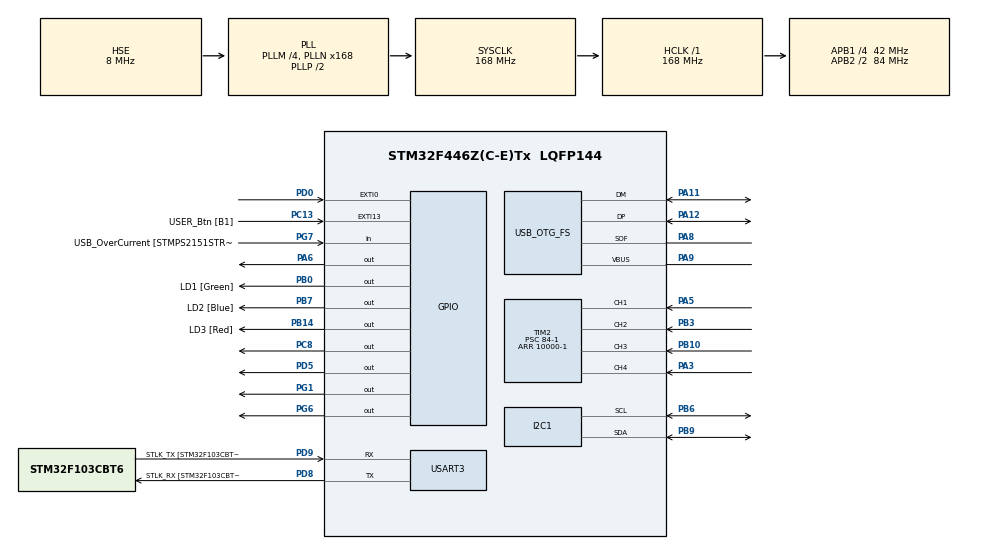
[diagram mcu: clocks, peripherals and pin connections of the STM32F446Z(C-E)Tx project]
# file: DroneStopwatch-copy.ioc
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Mcu.Family=STM32F4
Mcu.Name=STM32F446Z(C-E)Tx
Mcu.Package=LQFP144
NVIC.EXTI0_IRQn=true\:0\:0\:false\:false\:true\:true\:true\:true
NVIC.PriorityGroup=NVIC_PRIORITYGROUP_4
NVIC.TIM2_IRQn=true\:0\:0\:false\:false\:true\:true\:true\:true
NVIC.TIM3_IRQn=true\:0\:0\:false\:false\:true\:true\:true\:true
PA10.GPIO_Label=USB_ID
PA10.Signal=USB_OTG_FS_ID
PA11.GPIO_Mode=GPIO_MODE_AF_PP
PA11.GPIO_PuPd=GPIO_NOPULL
PA11.GPIO_Speed=GPIO_SPEED_FREQ_VERY_HIGH
PA11.Mode=Device_Only
PA11.Signal=USB_OTG_FS_DM
PA12.GPIO_Mode=GPIO_MODE_AF_PP
PA12.GPIO_PuPd=GPIO_NOPULL
PA12.GPIO_Speed=GPIO_SPEED_FREQ_VERY_HIGH
PA12.Mode=Device_Only
PA12.Signal=USB_OTG_FS_DP
PA13.GPIO_Label=TMS
PA13.Mode=Serial_Wire
PA13.Signal=SYS_JTMS-SWDIO
PA14.GPIO_Label=TCK
PA14.Mode=Serial_Wire
PA14.Signal=SYS_JTCK-SWCLK
PA3.Signal=S_TIM2_CH4
PA5.Signal=S_TIM2_CH1_ETR
PA6.Signal=GPIO_Output
PA8.GPIO_Mode=GPIO_MODE_AF_PP
PA8.GPIO_PuPd=GPIO_NOPULL
PA8.GPIO_Speed=GPIO_SPEED_FREQ_VERY_HIGH
PA8.Mode=Activate_SOF_FS
PA8.Signal=USB_OTG_FS_SOF
PA9.GPIO_Mode=GPIO_MODE_INPUT
PA9.GPIO_PuPd=GPIO_NOPULL
PA9.Mode=Activate_VBUS
PA9.Signal=USB_OTG_FS_VBUS
PB0.GPIO_Label=LD1 [Green]
PB0.Signal=GPIO_Output
PB10.Signal=S_TIM2_CH3
PB14.GPIO_Label=LD3 [Red]
PB14.Signal=GPIO_Output
PB3.Signal=S_TIM2_CH2
PB6.Mode=I2C
PB6.Signal=I2C1_SCL
PB7.GPIO_Label=LD2 [Blue]
PB7.Signal=GPIO_Output
PB9.Mode=I2C
PB9.Signal=I2C1_SDA
PC13.GPIO_Label=USER_Btn [B1]
PC13.Signal=GPXTI13
PC14-OSC32_IN.Mode=LSE-External-Oscillator
PC14-OSC32_IN.Signal=RCC_OSC32_IN
PC15-OSC32_OUT.Mode=LSE-External-Oscillator
PC15-OSC32_OUT.Signal=RCC_OSC32_OUT
PC8.Signal=GPIO_Output
PD0.GPIO_ModeDefaultEXTI=GPIO_MODE_IT_FALLING
PD0.GPIO_PuPd=GPIO_PULLUP
PD0.Signal=GPXTI0
PD5.Signal=GPIO_Output
PD8.GPIO_Label=STLK_RX [STM32F103CBT6_PA3]
PD8.Mode=Asynchronous
PD8.Signal=USART3_TX
PD9.GPIO_Label=STLK_TX [STM32F103CBT6_PA2]
PD9.Mode=Asynchronous
PD9.Signal=USART3_RX
PG1.Signal=GPIO_Output
PG6.Signal=GPIO_Output
PG7.GPIO_Label=USB_OverCurrent [STMPS2151STR_FAULT]
PG7.Signal=GPIO_Input
PH0-OSC_IN.GPIO_Label=MCO [STM32F103CBT6_PA8]
PH0-OSC_IN.Mode=HSE-External-Oscillator
PH0-OSC_IN.Signal=RCC_OSC_IN
PH1-OSC_OUT.Mode=HSE-External-Oscillator
PH1-OSC_OUT.Signal=RCC_OSC_OUT
ProjectManager.HeapSize=0x200
ProjectManager.StackSize=0x400
ProjectManager.TargetToolchain=STM32CubeIDE
RCC.48MHZClocksFreq_Value=24000000
RCC.AHBFreq_Value=168000000
RCC.APB1CLKDivider=RCC_HCLK_DIV4
RCC.APB1Freq_Value=42000000
RCC.APB1TimFreq_Value=84000000
RCC.APB2CLKDivider=RCC_HCLK_DIV2
RCC.APB2Freq_Value=84000000
RCC.APB2TimFreq_Value=168000000
RCC.CortexFreq_Value=168000000
RCC.HCLKFreq_Value=168000000
RCC.HSE_VALUE=8000000
RCC.HSI_VALUE=16000000
RCC.PLLM=4
RCC.PLLMUL=RCC_PLL_MUL9
RCC.PLLN=168
RCC.PLLQ=7
RCC.PRESCALERUSB=RCC_USBCLKSOURCE_PLL_DIV1_5
RCC.SYSCLKFreq_VALUE=168000000
RCC.SYSCLKSource=RCC_SYSCLKSOURCE_PLLCLK
RCC.SYSCLKSourceVirtual=RCC_SYSCLKSOURCE_PLLCLK
RCC.USBFreq_Value=48000000
RCC.VCOOutputFreq_Value=336000000
SH.S_TIM2_CH1_ETR.0=TIM2_CH1,Input_Capture1_from_TI1
SH.S_TIM2_CH2.0=TIM2_CH2,Input_Capture2_from_TI2
SH.S_TIM2_CH3.0=TIM2_CH3,Input_Capture3_from_TI3
SH.S_TIM2_CH4.0=TIM2_CH4,Input_Capture4_from_TI4
TIM2.Channel-Input_Capture1_from_TI1=TIM_CHANNEL_1
TIM2.Channel-Input_Capture2_from_TI2=TIM_CHANNEL_2
TIM2.Channel-Input_Capture3_from_TI3=TIM_CHANNEL_3
TIM2.Channel-Input_Capture4_from_TI4=TIM_CHANNEL_4
TIM2.ICPolarity_CH1=TIM_INPUTCHANNELPOLARITY_BOTHEDGE
TIM2.ICPolarity_CH2=TIM_INPUTCHANNELPOLARITY_BOTHEDGE
TIM2.ICPolarity_CH3=TIM_INPUTCHANNELPOLARITY_BOTHEDGE
TIM2.ICPolarity_CH4=TIM_INPUTCHANNELPOLARITY_BOTHEDGE
TIM2.Period=10000-1
TIM2.Prescaler=84-1
TIM3.Period=9999
TIM3.Prescaler=83
USART3.VirtualMode=VM_ASYNC
USB_OTG_FS.VirtualMode=Device_Only
VP_TIM3_VS_ClockSourceINT.Mode=Internal
board=NUCLEO-F446ZE

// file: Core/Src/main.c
/* USER CODE BEGIN Header */
/**
  ******************************************************************************
  * @file           : main.c
  * @brief          : Main program body
  ******************************************************************************
  * @attention
  *
  * Copyright (c) 2025 STMicroelectronics.
  * All rights reserved.
  *
  * This software is licensed under terms that can be found in the LICENSE file
  * in the root directory of this software component.
  * If no LICENSE file comes with this software, it is provided AS-IS.
  *
  ******************************************************************************
  */
/* USER CODE END Header */
#include "main.h"

/* USER CODE BEGIN Includes */
#include <stdio.h>
#include <string.h>
#include "i2c_lcd.h"
#include "stm32f4xx_hal.h"
/* USER CODE END Includes */

/* USER CODE BEGIN PTD */
#define NUM_SENSORS 4
/* USER CODE END PTD */

I2C_HandleTypeDef hi2c1;

TIM_HandleTypeDef htim2;
TIM_HandleTypeDef htim3;

UART_HandleTypeDef huart3;

PCD_HandleTypeDef hpcd_USB_OTG_FS;

/* USER CODE BEGIN PV */
I2C_LCD_HandleTypeDef lcd1;
/* USER CODE END PV */

void SystemClock_Config(void);
static void MX_GPIO_Init(void);
static void MX_USART3_UART_Init(void);
static void MX_USB_OTG_FS_PCD_Init(void);
static void MX_TIM2_Init(void);
static void MX_I2C1_Init(void);
static void MX_TIM3_Init(void);

/* USER CODE BEGIN 0 */

volatile uint32_t stopwatch_count = 0;  // Stopwatch counter (1 count = 10ms)
volatile uint8_t isRunning = 0;
uint32_t stopwatchMillis = 0;

/*		MULTI CHANNEL ECHO SETUP		*/
volatile uint32_t echo_start[NUM_SENSORS] = {0};
volatile uint32_t echo_end[NUM_SENSORS] = {0};
volatile uint8_t  echo_captured[NUM_SENSORS] = {0};

volatile uint8_t previousState = 0;
volatile uint8_t start_stop_stay = 0;
uint32_t ignoreStateUntil = 0;
uint8_t ledId = 0;

uint32_t distances[NUM_SENSORS] = {0};

volatile uint32_t previousMillis = 0;  // Track debounce time and check delay
volatile uint32_t currentMillis  = 0;

void start_stopwatch();
void stop_stopwatch();
void send_time_to_outputs();

void delay_ms(uint32_t delayMs) {
    uint32_t start = HAL_GetTick();
    while (HAL_GetTick() - start < delayMs) {

    }
}

void delay_us(uint32_t delay) {
    // Calculate the number of cycles per microsecond
    uint32_t cycles_per_us = 168; // 168 MHz -> 1 cycle = 1/168,000,000 s, so 168 cycles per microsecond
    uint32_t total_cycles = delay * cycles_per_us;
    while (total_cycles--) {

        __NOP();
    }
}

void HAL_GPIO_EXTI_Callback(uint16_t GPIO_Pin) {

	currentMillis = HAL_GetTick();
    if (GPIO_Pin == GPIO_PIN_0 && (currentMillis - previousMillis > 200)) {

        if(isRunning){	stop_stopwatch();  start_stop_stay = 2; send_time_to_outputs(); }
        else		 {	start_stopwatch(); start_stop_stay = 1; send_time_to_outputs();}

        previousMillis = currentMillis;
    }
}

void HAL_TIM_PeriodElapsedCallback(TIM_HandleTypeDef *htim) {
    if (htim->Instance == TIM3 && isRunning) {
            stopwatch_count++;

        }
}

void HAL_TIM_IC_CaptureCallback(TIM_HandleTypeDef *htim) {
	if (htim->Instance == TIM2){
		uint8_t ch_index = 0;
		uint32_t ch_value = 0;
		// Determine which channel triggered the interrupt
		switch (htim->Channel) {
			case HAL_TIM_ACTIVE_CHANNEL_1: ch_index = 0; ch_value = TIM_CHANNEL_1; break;
			case HAL_TIM_ACTIVE_CHANNEL_2: ch_index = 1; ch_value = TIM_CHANNEL_2; break;
			case HAL_TIM_ACTIVE_CHANNEL_3: ch_index = 2; ch_value = TIM_CHANNEL_3; break;
			case HAL_TIM_ACTIVE_CHANNEL_4: ch_index = 3; ch_value = TIM_CHANNEL_4; break;
			default: return;
		}

		 uint32_t captured_value = HAL_TIM_ReadCapturedValue(htim, ch_value);

		// Capture start or end of pulse
		if (echo_captured[ch_index] == 0) {
			echo_start[ch_index] = captured_value;
			echo_captured[ch_index] = 1;
		} else if (echo_captured[ch_index] == 1) {
			echo_end[ch_index] = captured_value;
			echo_captured[ch_index] = 2;  // Capture complete

		}

	}
}

void readSensor() {

		HAL_GPIO_WritePin(GPIOA, GPIO_PIN_6, 1);
		delay_us(10);								// Delay 10us, as per datasheet
		HAL_GPIO_WritePin(GPIOA, GPIO_PIN_6, 0);

	    __HAL_TIM_SET_COUNTER(&htim3, 0);
	    for (int i = 0; i < NUM_SENSORS; i++){
	    	echo_captured[i] = 0;
	    	echo_end[i] = 0;
	    	echo_start[i] = 0;
	    }
}

float getDistanceInCm(uint8_t ch_index) {
    if (echo_captured[ch_index] == 2) {
        uint32_t pulse_width;

        if (echo_end[ch_index] >= echo_start[ch_index]) {
            pulse_width = echo_end[ch_index] - echo_start[ch_index];
        } else {
            // Timer overflow case -> ARR+1 = 10000
            pulse_width = 10000 - echo_start[ch_index] + echo_end[ch_index];
        }
        distances[ch_index] = pulse_width / 58.0;
        return (pulse_width / 58.0); // Convert to cm
    }
    return -1;
}

void toggleLED(uint8_t index, uint8_t v){
	if(index < 0 || index > NUM_SENSORS) return;
	else{
		switch(index){
		    	case 0:
		    		HAL_GPIO_WritePin(GPIOC, GPIO_PIN_8, v);
		    		break;
		    	case 1:
		    		HAL_GPIO_WritePin(GPIOD, GPIO_PIN_5, v);
		    		break;
		    	case 2:
		    		HAL_GPIO_WritePin(GPIOG, GPIO_PIN_1, v);
		    		break;
		    	default: return;
		}
	}
}

void resetLEDs(){
	HAL_GPIO_WritePin(GPIOC, GPIO_PIN_8, 0);
	HAL_GPIO_WritePin(GPIOD, GPIO_PIN_5, 0);
	HAL_GPIO_WritePin(GPIOG, GPIO_PIN_1, 0);
}

void checkForDrone() {
    readSensor();
    delay_ms(15);
    float distance[NUM_SENSORS] = {0};
    uint8_t currentState = 0;
    currentMillis = HAL_GetTick();

    for(int i = 0; i < NUM_SENSORS; i++){
        	distance[i] = getDistanceInCm(i);
        	if(distance[i] > 0 && distance[i] < 30){
        		currentState = 1;
        		ledId = i;
        	}
        	else{
        		currentState = 0;
        	}
        	if(currentState != previousState){
        		break;
        	}
        }

    // If we are within the ignore period, exit early without updating state
    if(currentMillis - previousMillis < 2000){

    	return;
    }

    resetLEDs();

    if(currentState != previousState){
    if (previousState == 1 && currentState == 0 && start_stop_stay % 4 == 0) {
        if (!isRunning ) {
        	lcd_clear(&lcd1);
            start_stopwatch();
            start_stop_stay++;
            previousMillis = currentMillis;
            toggleLED(ledId, 1);

        }
    }

    else if (previousState == 0 && currentState == 1 && start_stop_stay % 4 == 1) {
        if (isRunning ) {
            stop_stopwatch();
            start_stop_stay++;
            send_time_to_outputs();				//Updating LCD output now, then delaying readings
            previousMillis = currentMillis;
            toggleLED(ledId, 1);
        }
    }

    else if(previousState == 1 && currentState == 0 && start_stop_stay % 4 == 2){
        send_time_to_outputs();
        start_stop_stay++;
        }

    else if(previousState == 0 && currentState == 1 && start_stop_stay % 4 == 3){
            send_time_to_outputs();
            start_stop_stay=0;

            }
    }
    previousState = currentState;

}

void send_time_to_outputs() {

    char buffer[20]="";

    // snprintf - ensures that the buffer is not overrun and always null-terminated (no random letters from previous itteration
    //snprintf(buffer, sizeof(buffer), "Time: %lu.%02lus    ", stopwatch_count / 100, stopwatch_count % 100);
    sprintf(buffer, "Time: %lu.%.2lus ", stopwatch_count/100,stopwatch_count%100);
    lcd_gotoxy(&lcd1, 0, 0);
    lcd_puts(&lcd1, buffer);

    switch(start_stop_stay % 4){
    case 1:
    	snprintf(buffer, sizeof(buffer), "Mode: Running...");
    	break;
    case 2:
    	snprintf(buffer, sizeof(buffer), "Mode: Stopped   ");
    	break;
    default:
    	snprintf(buffer, sizeof(buffer), "Mode: Default   ");
    }

    lcd_gotoxy(&lcd1, 1, 0);
    lcd_puts(&lcd1, buffer);

    sprintf(buffer, "TIME:%lu \n", stopwatch_count);
    HAL_UART_Transmit(&huart3, (uint8_t*)buffer, strlen(buffer), HAL_MAX_DELAY);

}

void start_stopwatch() {
	isRunning = 1;
    stopwatch_count = 0;

}

void stop_stopwatch() {
    isRunning = 0;
    send_time_to_outputs();
}

void resetTimerChannels(){
	HAL_GPIO_WritePin(GPIOA, GPIO_PIN_3, GPIO_PIN_RESET);
	HAL_GPIO_WritePin(GPIOA, GPIO_PIN_5, GPIO_PIN_RESET);
	HAL_GPIO_WritePin(GPIOB, GPIO_PIN_3, GPIO_PIN_RESET);
	HAL_GPIO_WritePin(GPIOB, GPIO_PIN_10, GPIO_PIN_RESET);
	delay_ms(10);
}

/* USER CODE END 0 */

int main(void)
{

  /* MCU Configuration--------------------------------------------------------*/

  /* Reset of all peripherals, Initializes the Flash interface and the Systick. */
   HAL_Init();

  /* Configure the system clock */
  SystemClock_Config();

  /* Initialize all configured peripherals */
  MX_GPIO_Init();
  MX_USART3_UART_Init();
  MX_USB_OTG_FS_PCD_Init();
  MX_TIM2_Init();
  MX_I2C1_Init();
  MX_TIM3_Init();
  /* USER CODE BEGIN 2 */

  resetTimerChannels();		//	TIM2 Channel Reset on startup - removes unpredictable behaviour

  //HAL_TIM_Base_Start_IT(&htim2);  // Start the TIM2 base timer for input capture
  HAL_TIM_Base_Start_IT(&htim3);
  HAL_TIM_IC_Start_IT(&htim2, TIM_CHANNEL_1);	// Start TIM2 input capture for ECHO signal 1
  HAL_TIM_IC_Start_IT(&htim2, TIM_CHANNEL_2);	// Start TIM2 input capture for ECHO signal 2
  HAL_TIM_IC_Start_IT(&htim2, TIM_CHANNEL_3);	// Start TIM2 input capture for ECHO signal 3
  HAL_TIM_IC_Start_IT(&htim2, TIM_CHANNEL_4);	// Start TIM2 input capture for ECHO signal 4

  // LCD initialization
	  lcd1.hi2c = &hi2c1;
	  lcd1.address = 0x4E;
	  lcd_init(&lcd1);

  // CONTENT ON LCD
	  lcd_clear(&lcd1);
	  send_time_to_outputs();
  /* USER CODE END 2 */

  /* Infinite loop */
  /* USER CODE BEGIN WHILE */
  while (1)
  {
	  checkForDrone();
	  if(isRunning) send_time_to_outputs();
    /* USER CODE END WHILE */

  }
}

void SystemClock_Config(void)
{
  RCC_OscInitTypeDef RCC_OscInitStruct = {0};
  RCC_ClkInitTypeDef RCC_ClkInitStruct = {0};

  /** Configure the main internal regulator output voltage
  */
  __HAL_RCC_PWR_CLK_ENABLE();
  __HAL_PWR_VOLTAGESCALING_CONFIG(PWR_REGULATOR_VOLTAGE_SCALE1);

  /** Initializes the RCC Oscillators according to the specified parameters
  * in the RCC_OscInitTypeDef structure.
  */
  RCC_OscInitStruct.OscillatorType = RCC_OSCILLATORTYPE_HSE;
  RCC_OscInitStruct.HSEState = RCC_HSE_ON;
  RCC_OscInitStruct.PLL.PLLState = RCC_PLL_ON;
  RCC_OscInitStruct.PLL.PLLSource = RCC_PLLSOURCE_HSE;
  RCC_OscInitStruct.PLL.PLLM = 4;
  RCC_OscInitStruct.PLL.PLLN = 168;
  RCC_OscInitStruct.PLL.PLLP = RCC_PLLP_DIV2;
  RCC_OscInitStruct.PLL.PLLQ = 7;
  RCC_OscInitStruct.PLL.PLLR = 2;
  if (HAL_RCC_OscConfig(&RCC_OscInitStruct) != HAL_OK)
  {
    Error_Handler();
  }

  /** Initializes the CPU, AHB and APB buses clocks
  */
  RCC_ClkInitStruct.ClockType = RCC_CLOCKTYPE_HCLK|RCC_CLOCKTYPE_SYSCLK
                              |RCC_CLOCKTYPE_PCLK1|RCC_CLOCKTYPE_PCLK2;
  RCC_ClkInitStruct.SYSCLKSource = RCC_SYSCLKSOURCE_PLLCLK;
  RCC_ClkInitStruct.AHBCLKDivider = RCC_SYSCLK_DIV1;
  RCC_ClkInitStruct.APB1CLKDivider = RCC_HCLK_DIV4;
  RCC_ClkInitStruct.APB2CLKDivider = RCC_HCLK_DIV2;

  if (HAL_RCC_ClockConfig(&RCC_ClkInitStruct, FLASH_LATENCY_5) != HAL_OK)
  {
    Error_Handler();
  }
}

static void MX_I2C1_Init(void)
{

  hi2c1.Instance = I2C1;
  hi2c1.Init.ClockSpeed = 100000;
  hi2c1.Init.DutyCycle = I2C_DUTYCYCLE_2;
  hi2c1.Init.OwnAddress1 = 0;
  hi2c1.Init.AddressingMode = I2C_ADDRESSINGMODE_7BIT;
  hi2c1.Init.DualAddressMode = I2C_DUALADDRESS_DISABLE;
  hi2c1.Init.OwnAddress2 = 0;
  hi2c1.Init.GeneralCallMode = I2C_GENERALCALL_DISABLE;
  hi2c1.Init.NoStretchMode = I2C_NOSTRETCH_DISABLE;
  if (HAL_I2C_Init(&hi2c1) != HAL_OK)
  {
    Error_Handler();
  }

}

static void MX_TIM2_Init(void)
{

  TIM_MasterConfigTypeDef sMasterConfig = {0};
  TIM_IC_InitTypeDef sConfigIC = {0};

  htim2.Instance = TIM2;
  htim2.Init.Prescaler = 84-1;
  htim2.Init.CounterMode = TIM_COUNTERMODE_UP;
  htim2.Init.Period = 10000-1;
  htim2.Init.ClockDivision = TIM_CLOCKDIVISION_DIV1;
  htim2.Init.AutoReloadPreload = TIM_AUTORELOAD_PRELOAD_DISABLE;
  if (HAL_TIM_IC_Init(&htim2) != HAL_OK)
  {
    Error_Handler();
  }
  sMasterConfig.MasterOutputTrigger = TIM_TRGO_RESET;
  sMasterConfig.MasterSlaveMode = TIM_MASTERSLAVEMODE_DISABLE;
  if (HAL_TIMEx_MasterConfigSynchronization(&htim2, &sMasterConfig) != HAL_OK)
  {
    Error_Handler();
  }
  sConfigIC.ICPolarity = TIM_INPUTCHANNELPOLARITY_BOTHEDGE;
  sConfigIC.ICSelection = TIM_ICSELECTION_DIRECTTI;
  sConfigIC.ICPrescaler = TIM_ICPSC_DIV1;
  sConfigIC.ICFilter = 0;
  if (HAL_TIM_IC_ConfigChannel(&htim2, &sConfigIC, TIM_CHANNEL_1) != HAL_OK)
  {
    Error_Handler();
  }
  if (HAL_TIM_IC_ConfigChannel(&htim2, &sConfigIC, TIM_CHANNEL_2) != HAL_OK)
  {
    Error_Handler();
  }
  if (HAL_TIM_IC_ConfigChannel(&htim2, &sConfigIC, TIM_CHANNEL_3) != HAL_OK)
  {
    Error_Handler();
  }
  if (HAL_TIM_IC_ConfigChannel(&htim2, &sConfigIC, TIM_CHANNEL_4) != HAL_OK)
  {
    Error_Handler();
  }
  /* USER CODE BEGIN TIM2_Init 2 */
  HAL_NVIC_SetPriority(TIM2_IRQn, 1, 0);
  HAL_NVIC_EnableIRQ(TIM2_IRQn);
  /* USER CODE END TIM2_Init 2 */

}

static void MX_TIM3_Init(void)
{

  TIM_ClockConfigTypeDef sClockSourceConfig = {0};
  TIM_MasterConfigTypeDef sMasterConfig = {0};

  htim3.Instance = TIM3;
  htim3.Init.Prescaler = 83;
  htim3.Init.CounterMode = TIM_COUNTERMODE_UP;
  htim3.Init.Period = 8333;
  htim3.Init.ClockDivision = TIM_CLOCKDIVISION_DIV1;
  htim3.Init.AutoReloadPreload = TIM_AUTORELOAD_PRELOAD_DISABLE;
  if (HAL_TIM_Base_Init(&htim3) != HAL_OK)
  {
    Error_Handler();
  }
  sClockSourceConfig.ClockSource = TIM_CLOCKSOURCE_INTERNAL;
  if (HAL_TIM_ConfigClockSource(&htim3, &sClockSourceConfig) != HAL_OK)
  {
    Error_Handler();
  }
  sMasterConfig.MasterOutputTrigger = TIM_TRGO_RESET;
  sMasterConfig.MasterSlaveMode = TIM_MASTERSLAVEMODE_DISABLE;
  if (HAL_TIMEx_MasterConfigSynchronization(&htim3, &sMasterConfig) != HAL_OK)
  {
    Error_Handler();
  }
  /* USER CODE BEGIN TIM3_Init 2 */
  HAL_NVIC_SetPriority(TIM3_IRQn, 0, 0);
  HAL_NVIC_EnableIRQ(TIM3_IRQn);
  /* USER CODE END TIM3_Init 2 */

}

static void MX_USART3_UART_Init(void)
{

  huart3.Instance = USART3;
  huart3.Init.BaudRate = 115200;
  huart3.Init.WordLength = UART_WORDLENGTH_8B;
  huart3.Init.StopBits = UART_STOPBITS_1;
  huart3.Init.Parity = UART_PARITY_NONE;
  huart3.Init.Mode = UART_MODE_TX_RX;
  huart3.Init.HwFlowCtl = UART_HWCONTROL_NONE;
  huart3.Init.OverSampling = UART_OVERSAMPLING_16;
  if (HAL_UART_Init(&huart3) != HAL_OK)
  {
    Error_Handler();
  }

}

static void MX_USB_OTG_FS_PCD_Init(void)
{

  hpcd_USB_OTG_FS.Instance = USB_OTG_FS;
  hpcd_USB_OTG_FS.Init.dev_endpoints = 6;
  hpcd_USB_OTG_FS.Init.speed = PCD_SPEED_FULL;
  hpcd_USB_OTG_FS.Init.dma_enable = DISABLE;
  hpcd_USB_OTG_FS.Init.phy_itface = PCD_PHY_EMBEDDED;
  hpcd_USB_OTG_FS.Init.Sof_enable = ENABLE;
  hpcd_USB_OTG_FS.Init.low_power_enable = DISABLE;
  hpcd_USB_OTG_FS.Init.lpm_enable = DISABLE;
  hpcd_USB_OTG_FS.Init.vbus_sensing_enable = ENABLE;
  hpcd_USB_OTG_FS.Init.use_dedicated_ep1 = DISABLE;
  if (HAL_PCD_Init(&hpcd_USB_OTG_FS) != HAL_OK)
  {
    Error_Handler();
  }

}

static void MX_GPIO_Init(void)
{
  GPIO_InitTypeDef GPIO_InitStruct = {0};

  /* GPIO Ports Clock Enable */
  __HAL_RCC_GPIOC_CLK_ENABLE();
  __HAL_RCC_GPIOH_CLK_ENABLE();
  __HAL_RCC_GPIOA_CLK_ENABLE();
  __HAL_RCC_GPIOB_CLK_ENABLE();
  __HAL_RCC_GPIOG_CLK_ENABLE();
  __HAL_RCC_GPIOD_CLK_ENABLE();

  /*Configure GPIO pin Output Level */
  HAL_GPIO_WritePin(GPIOA, GPIO_PIN_6, GPIO_PIN_RESET);

  /*Configure GPIO pin Output Level */
  HAL_GPIO_WritePin(GPIOB, LD1_Pin|LD3_Pin|LD2_Pin, GPIO_PIN_RESET);

  /*Configure GPIO pin Output Level */
  HAL_GPIO_WritePin(GPIOG, GPIO_PIN_1|GPIO_PIN_6, GPIO_PIN_RESET);

  /*Configure GPIO pin Output Level */
  HAL_GPIO_WritePin(GPIOC, GPIO_PIN_8, GPIO_PIN_RESET);

  /*Configure GPIO pin Output Level */
  HAL_GPIO_WritePin(GPIOD, GPIO_PIN_5, GPIO_PIN_RESET);

  /*Configure GPIO pin : USER_Btn_Pin */
  GPIO_InitStruct.Pin = USER_Btn_Pin;
  GPIO_InitStruct.Mode = GPIO_MODE_IT_RISING;
  GPIO_InitStruct.Pull = GPIO_NOPULL;
  HAL_GPIO_Init(USER_Btn_GPIO_Port, &GPIO_InitStruct);

  /*Configure GPIO pin : PA6 */
  GPIO_InitStruct.Pin = GPIO_PIN_6;
  GPIO_InitStruct.Mode = GPIO_MODE_OUTPUT_PP;
  GPIO_InitStruct.Pull = GPIO_NOPULL;
  GPIO_InitStruct.Speed = GPIO_SPEED_FREQ_LOW;
  HAL_GPIO_Init(GPIOA, &GPIO_InitStruct);

  /*Configure GPIO pins : LD1_Pin LD3_Pin LD2_Pin */
  GPIO_InitStruct.Pin = LD1_Pin|LD3_Pin|LD2_Pin;
  GPIO_InitStruct.Mode = GPIO_MODE_OUTPUT_PP;
  GPIO_InitStruct.Pull = GPIO_NOPULL;
  GPIO_InitStruct.Speed = GPIO_SPEED_FREQ_LOW;
  HAL_GPIO_Init(GPIOB, &GPIO_InitStruct);

  /*Configure GPIO pins : PG1 PG6 */
  GPIO_InitStruct.Pin = GPIO_PIN_1|GPIO_PIN_6;
  GPIO_InitStruct.Mode = GPIO_MODE_OUTPUT_PP;
  GPIO_InitStruct.Pull = GPIO_NOPULL;
  GPIO_InitStruct.Speed = GPIO_SPEED_FREQ_LOW;
  HAL_GPIO_Init(GPIOG, &GPIO_InitStruct);

  /*Configure GPIO pin : USB_OverCurrent_Pin */
  GPIO_InitStruct.Pin = USB_OverCurrent_Pin;
  GPIO_InitStruct.Mode = GPIO_MODE_INPUT;
  GPIO_InitStruct.Pull = GPIO_NOPULL;
  HAL_GPIO_Init(USB_OverCurrent_GPIO_Port, &GPIO_InitStruct);

  /*Configure GPIO pin : PC8 */
  GPIO_InitStruct.Pin = GPIO_PIN_8;
  GPIO_InitStruct.Mode = GPIO_MODE_OUTPUT_PP;
  GPIO_InitStruct.Pull = GPIO_NOPULL;
  GPIO_InitStruct.Speed = GPIO_SPEED_FREQ_LOW;
  HAL_GPIO_Init(GPIOC, &GPIO_InitStruct);

  /*Configure GPIO pin : PD0 */
  GPIO_InitStruct.Pin = GPIO_PIN_0;
  GPIO_InitStruct.Mode = GPIO_MODE_IT_FALLING;
  GPIO_InitStruct.Pull = GPIO_PULLUP;
  HAL_GPIO_Init(GPIOD, &GPIO_InitStruct);

  /*Configure GPIO pin : PD5 */
  GPIO_InitStruct.Pin = GPIO_PIN_5;
  GPIO_InitStruct.Mode = GPIO_MODE_OUTPUT_PP;
  GPIO_InitStruct.Pull = GPIO_NOPULL;
  GPIO_InitStruct.Speed = GPIO_SPEED_FREQ_LOW;
  HAL_GPIO_Init(GPIOD, &GPIO_InitStruct);

  /* EXTI interrupt init*/
  HAL_NVIC_SetPriority(EXTI0_IRQn, 0, 0);
  HAL_NVIC_EnableIRQ(EXTI0_IRQn);

/* USER CODE BEGIN MX_GPIO_Init_2 */
  HAL_NVIC_SetPriority(EXTI0_IRQn, 1, 0);
  HAL_NVIC_EnableIRQ(EXTI0_IRQn);
/* USER CODE END MX_GPIO_Init_2 */
}

void Error_Handler(void)
{
  __disable_irq();
  while (1)
  {
  }
}
